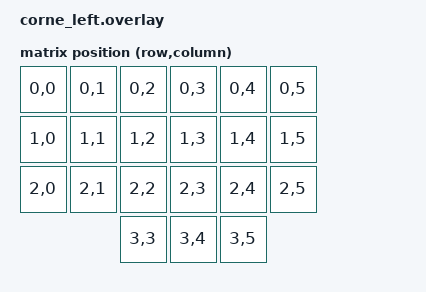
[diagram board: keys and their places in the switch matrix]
/*
 * Metade ESQUERDA — standalone (sem split).
 * Redefine o matrix transform para 6 colunas × 4 rows.
 * Thumb keys estão fisicamente nas colunas 3, 4, 5 do PCB Corne.
 */

#include <dt-bindings/zmk/matrix_transform.h>

&default_transform {
    col-offset = <0>;
    columns = <6>;
    rows = <4>;
    map = <
        RC(0,0) RC(0,1) RC(0,2) RC(0,3) RC(0,4) RC(0,5)
        RC(1,0) RC(1,1) RC(1,2) RC(1,3) RC(1,4) RC(1,5)
        RC(2,0) RC(2,1) RC(2,2) RC(2,3) RC(2,4) RC(2,5)
                        RC(3,3) RC(3,4) RC(3,5)
    >;
};

&five_column_transform {
    col-offset = <0>;
};
